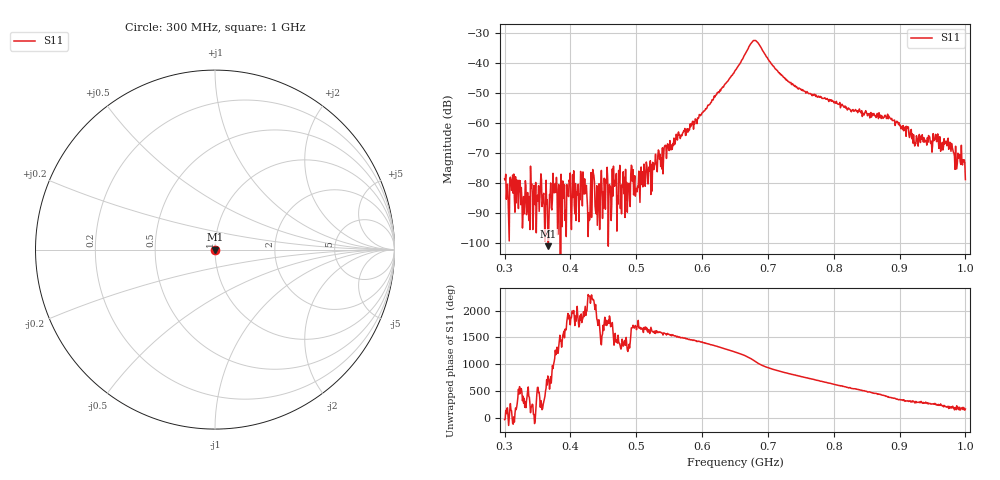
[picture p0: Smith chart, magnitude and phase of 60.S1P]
! C:\Users\rflab\Downloads\q2\60.S1P
! Touchstone 1.1 file saved by VNA.EXE V1.65 (www.ke5fx.com/gpib/readme.htm)
! 11/20/2024 11:08:14 AM
!  Source: HEWLETT PACKARD,8753D,0,6.14
!  Min freq: 3.000000E+008 Hz
!  Max freq: 1.000000E+009 Hz
!  Points: 801
!  Params: S21
# GHZ S MA R 50
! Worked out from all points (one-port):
!   801 points, 300 MHz to 1 GHz, reference 50 ohm
!   lowest |S11| = -100.9 dB at 366.5 MHz (marker M1), VSWR 1.00, Z = 50 + j0.000209 ohm
!   |S11| at or under -10 dB: start of sweep to end of sweep
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0.3  0.000118 -38.4
0.3665  9e-06 13.4
0.3875  1.9e-05 -10.9
0.475  0.000198 -56.6
0.488125  9.1e-05 -147.1
0.495125  0.000168 -71.2
0.502125  8.9e-05 -79.9
0.5205  0.000158 133.6
0.53275  0.000287 156.5
0.538875  0.000172 144.8
0.545875  0.000258 106.4
0.5625  0.000521 81.6
0.57825  0.000708 30.4
0.65  0.007381 147.5
0.680625  0.02349 -28.1
0.713  0.007604 165.1
0.7375  0.004507 87.3
0.825  0.001665 -159.4
0.881  0.001247 35.2
0.9125  0.000828 -45.3
0.925625  0.000614 -79.4
0.950125  0.000419 -104.1
0.9545  0.000647 -113.3
0.96325  0.000395 -132.3
0.972875  0.000518 -157.4
0.98425  0.00017 171.7
0.99475  0.00022 -176.9
1  0.000115 161.2
